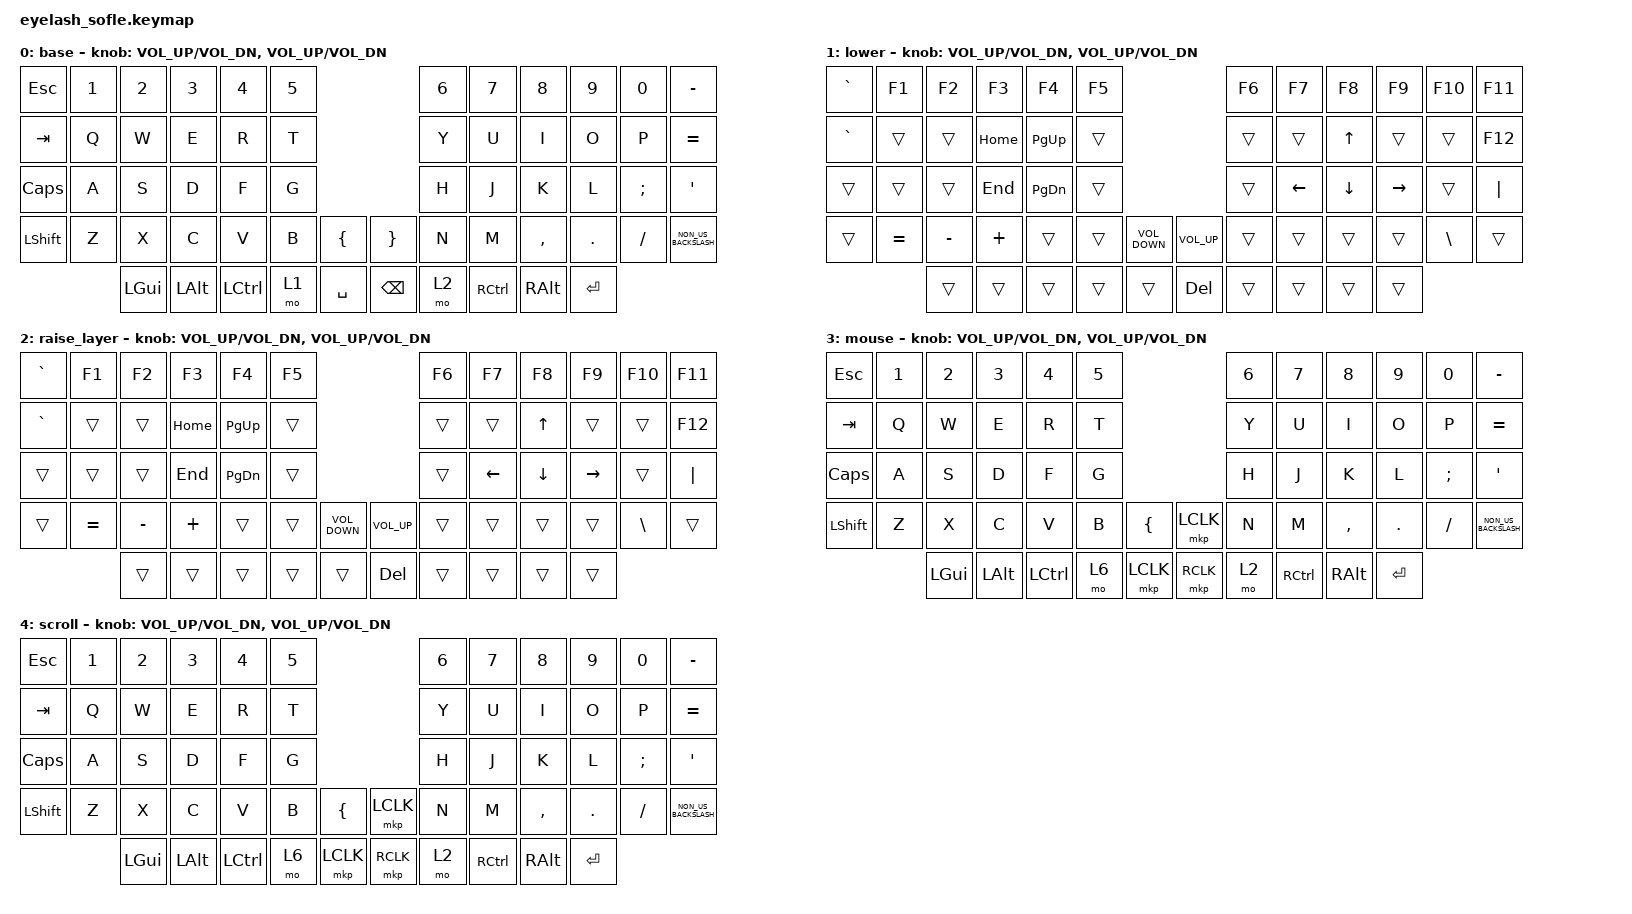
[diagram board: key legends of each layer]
#define ZMK_POINTING_DEFAULT_MOVE_VAL 1200  // 600
#define ZMK_POINTING_DEFAULT_SCRL_VAL 50   // 10

#include <input/processors.dtsi>
#include <zephyr/dt-bindings/input/input-event-codes.h>
#include <behaviors.dtsi>
#include <dt-bindings/zmk/keys.h>
#include <dt-bindings/zmk/pointing.h>
#include <dt-bindings/zmk/mouse.h>

#define BASE 0
#define LOWER 1
#define RAISE 2
#define MOUSE 3
#define SCROLL 4

//&mmv_input_listener { input-processors = <&zip_xy_scaler 2 1>; };
//&msc_input_listener { input-processors = <&zip_scroll_scaler 2 1>; };

&mmv {
    time-to-max-speed-ms = <500>;
    acceleration-exponent = <1>;
    trigger-period-ms = <16>;
};

&msc {
    time-to-max-speed-ms = <50>;
    acceleration-exponent = <1>;
};

/ {
    // Activate ADJUST layer by pressing raise and lower
    conditional_layers {
        compatible = "zmk,conditional-layers";

        adjust_layer {
            if-layers = <BASE LOWER>;
            then-layer = <RAISE>;
            };
        };


    combos {
        compatible = "zmk,combos";

        lang {
            bindings = <&kp RALT>;
            key-positions = <34 35>;
            layers = <0>;
            timeout-ms = <90>;
        };

        b_key {
            bindings = <&kp B>;
            key-positions = <35 36>;
            layers = <0>;
            timeout-ms = <90>;
        };
    };

    macros {
        arrow: arrow {
            compatible = "zmk,behavior-macro";
            #binding-cells = <0>;
            bindings = <&kp MINUS &kp GT>;
        };

        arrow2: arrow2 {
            compatible = "zmk,behavior-macro";
            #binding-cells = <0>;
            bindings =
                <&macro_release>,
                <&kp LSHFT>,
                <&macro_tap>,
                <&kp EQUAL &kp GT>;
        };

        ZonePrintScreen: ZonePrintScreen {
            compatible = "zmk,behavior-macro";
            #binding-cells = <0>;
            bindings = <&kp LS(LG(S))>;
            label = "ZONEPRINTSCREEN";
        };

        lm: lm {
            compatible = "zmk,behavior-macro-two-param";
            wait-ms = <0>;
            tap-ms = <0>;
            #binding-cells = <2>;
            bindings =
                <&macro_param_1to1>,
                <&macro_press>,
                <&mo MACRO_PLACEHOLDER &macro_param_2to1>,
                <&macro_press>,
                <&kp MACRO_PLACEHOLDER>,
                <&macro_pause_for_release>,
                <&macro_param_2to1>,
                <&macro_release>,
                <&kp MACRO_PLACEHOLDER &macro_param_1to1>,
                <&macro_release>,
                <&mo MACRO_PLACEHOLDER>;
        };

        rk: rk {
            compatible = "zmk,behavior-macro-two-param";
            wait-ms = <0>;
            tap-ms = <0>;
            #binding-cells = <2>;
            bindings =
                <&macro_param_1to1>,
                <&macro_release>,
                <&kp MACRO_PLACEHOLDER &macro_param_2to1>,
                <&macro_tap>,
                <&kp MACRO_PLACEHOLDER>;
        };
    };

    behaviors {
        skq: sticky_key_quick_release {
            compatible = "zmk,behavior-sticky-key";
            #binding-cells = <1>;
            bindings = <&kp>;
            release-after-ms = <500>;
            quick-release;
        };

        caps_word_mod: caps_word_mod {
            compatible = "zmk,behavior-caps-word-custom";
            #binding-cells = <0>;
            continue-list = <MINUS UNDERSCORE BSPC>;
        };

        G_ESC: G_ESC {
            compatible = "zmk,behavior-hold-tap";
            bindings = <&kp>, <&kp>;

            #binding-cells = <2>;
            tapping-term-ms = <130>;
            hold-trigger-key-positions = <0>;
            flavor = "tap-preferred";
        };

        SH_CAPS: SH_CAPS {
            compatible = "zmk,behavior-tap-dance";
            #binding-cells = <0>;
            bindings = <&skq LSHFT>, <&caps_word_mod>;
        };

        mo_tg: mo_tg {
            compatible = "zmk,behavior-tap-dance";
            #binding-cells = <0>;
            bindings = <&mo 5>, <&tog 5>;
        };

        mouse_scroll: sensor_scroll {
            compatible = "zmk,behavior-sensor-rotate-var";
            #sensor-binding-cells = <2>;
            bindings = <&msc>, <&msc>;
        };

        func: func {
            compatible = "zmk,behavior-tap-dance";
            #binding-cells = <0>;
            bindings = <&kp F11>, <&kp F12>;

            tapping-term-ms = <200>;
        };

        ht: hold_tap {
            label = "hold_tap";
            compatible = "zmk,behavior-hold-tap";
            #binding-cells = <2>;
            flavor = "tap-preferred";
            tapping-term-ms = <220>;
            quick-tap-ms = <150>;
            global-quick-tap;
            bindings = <&kp>, <&kp>;
        };
        hm: homerow_mods {
            compatible = "zmk,behavior-hold-tap";
            label = "HOMEROW_MODS";
            #binding-cells = <2>;
            tapping-term-ms = <200>;
            quick_tap_ms = <0>;
            flavor = "tap-preferred";
            bindings = <&kp>, <&kp>;
        };
        td: tapdance {
            compatible = "zmk,behavior-hold-tap";
            label = "TAPDANCE";
            #binding-cells = <2>;
            tapping-term-ms = <150>;
            quick_tap_ms = <0>;
            flavor = "tap-preferred";
            bindings = <&kp>, <&kp>;
        };
        tog_game_hold: tog_game_hold {
            compatible = "zmk,behavior-hold-tap";
            #binding-cells = <2>;
            flavor = "hold-preferred";
            tapping-term-ms = <2000>;
            bindings = <&tog>, <&none>;
        };
    };



    keymap {
        compatible = "zmk,keymap";

        base_layer {
            display-name = "base";
            bindings = <
&kp ESCAPE    &kp N1  &kp N2    &kp N3    &kp N4     &kp N5                                     &kp N6  &kp N7     &kp N8     &kp N9   &kp N0    &kp MINUS
&kp TAB       &kp Q   &kp W     &kp E     &kp R      &kp T                                      &kp Y   &kp U      &kp I      &kp O    &kp P     &kp EQUAL
&kp CAPSLOCK  &kp A   &kp S     &kp D     &kp F      &kp G                                      &kp H   &kp J      &kp K      &kp L    &kp SEMI  &kp SQT
&kp LSHFT     &kp Z   &kp X     &kp C     &kp V      &kp B   &kp LEFT_BRACE    &kp RIGHT_BRACE  &kp N   &kp M      &kp COMMA  &kp DOT  &kp FSLH  &kp NON_US_BACKSLASH
                      &kp LGUI  &kp LALT  &kp LCTRL  &mo 1   &kp SPACE         &kp BACKSPACE    &mo 2   &kp RCTRL  &kp RALT   &kp RET
            >;

            sensor-bindings =
                <&inc_dec_kp C_VOL_UP C_VOL_DN>,
                <&inc_dec_kp C_VOL_UP C_VOL_DN>;
        };

        lower_layer {
            display-name = "lower";
            bindings = <
&kp GRAVE  &kp F1     &kp F2     &kp F3    &kp F4         &kp F5                                        &kp F6  &kp F7          &kp F8          &kp F9           &kp F10   &kp F11
&kp GRAVE  &trans     &trans     &kp HOME  &kp PAGE_UP    &trans                                        &trans  &trans          &kp UP_ARROW    &trans           &trans    &kp F12
&trans     &trans     &trans     &kp END   &kp PAGE_DOWN  &trans                                        &trans  &kp LEFT_ARROW  &kp DOWN_ARROW  &kp RIGHT_ARROW  &trans    &kp PIPE
&trans     &kp EQUAL  &kp MINUS  &kp PLUS  &trans         &trans  &kp C_VOLUME_DOWN    &kp C_VOLUME_UP  &trans  &trans          &trans          &trans           &kp BSLH  &trans
                      &trans     &trans    &trans         &trans  &trans               &kp DELETE       &trans  &trans          &trans          &trans
            >;

            sensor-bindings =
                <&inc_dec_kp C_VOL_UP C_VOL_DN>,
                <&inc_dec_kp C_VOL_UP C_VOL_DN>;
        };

        raise_layer {
            bindings = <
&kp GRAVE  &kp F1     &kp F2     &kp F3    &kp F4         &kp F5                                        &kp F6  &kp F7          &kp F8          &kp F9           &kp F10   &kp F11
&kp GRAVE  &trans     &trans     &kp HOME  &kp PAGE_UP    &trans                                        &trans  &trans          &kp UP_ARROW    &trans           &trans    &kp F12
&trans     &trans     &trans     &kp END   &kp PAGE_DOWN  &trans                                        &trans  &kp LEFT_ARROW  &kp DOWN_ARROW  &kp RIGHT_ARROW  &trans    &kp PIPE
&trans     &kp EQUAL  &kp MINUS  &kp PLUS  &trans         &trans  &kp C_VOLUME_DOWN    &kp C_VOLUME_UP  &trans  &trans          &trans          &trans           &kp BSLH  &trans
                      &trans     &trans    &trans         &trans  &trans               &kp DELETE       &trans  &trans          &trans          &trans
            >;

            sensor-bindings =
                <&inc_dec_kp C_VOL_UP C_VOL_DN>,
                <&inc_dec_kp C_VOL_UP C_VOL_DN>;
        };






                /*
                 * MOUSE LAYER (Layer 4) - Auto-activates on trackball/trackpoint movement
                 * Thumb keys become: SCROLL | LEFT CLICK | LEFT CLICK | RIGHT CLICK
                 */
                mouse_layer {
                display-name = "mouse";
                bindings = <
&kp ESCAPE    &kp N1  &kp N2    &kp N3    &kp N4     &kp N5                                &kp N6  &kp N7     &kp N8     &kp N9   &kp N0    &kp MINUS
&kp TAB       &kp Q   &kp W     &kp E     &kp R      &kp T                                 &kp Y   &kp U      &kp I      &kp O    &kp P     &kp EQUAL
&kp CAPSLOCK  &kp A   &kp S     &kp D     &kp F      &kp G                                 &kp H   &kp J      &kp K      &kp L    &kp SEMI  &kp SQT
&kp LSHFT     &kp Z   &kp X     &kp C     &kp V      &kp B   &kp LEFT_BRACE    &mkp LCLK   &kp N   &kp M      &kp COMMA  &kp DOT  &kp FSLH  &kp NON_US_BACKSLASH
                      &kp LGUI  &kp LALT  &kp LCTRL  &mo 6   &mkp LCLK         &mkp RCLK   &mo 2   &kp RCTRL  &kp RALT   &kp RET
            >;

                sensor-bindings =
                <&inc_dec_kp C_VOL_UP C_VOL_DN>,
                <&inc_dec_kp C_VOL_UP C_VOL_DN>;
                };




                /* SCROLL LAYER (Layer 5) - Hold left thumb 1 for scroll mode */
                scroll_layer {
                display-name = "scroll";
                        bindings = <
&kp ESCAPE    &kp N1  &kp N2    &kp N3    &kp N4     &kp N5                                &kp N6  &kp N7     &kp N8     &kp N9   &kp N0    &kp MINUS
&kp TAB       &kp Q   &kp W     &kp E     &kp R      &kp T                                 &kp Y   &kp U      &kp I      &kp O    &kp P     &kp EQUAL
&kp CAPSLOCK  &kp A   &kp S     &kp D     &kp F      &kp G                                 &kp H   &kp J      &kp K      &kp L    &kp SEMI  &kp SQT
&kp LSHFT     &kp Z   &kp X     &kp C     &kp V      &kp B   &kp LEFT_BRACE    &mkp LCLK   &kp N   &kp M      &kp COMMA  &kp DOT  &kp FSLH  &kp NON_US_BACKSLASH
                      &kp LGUI  &kp LALT  &kp LCTRL  &mo 6   &mkp LCLK         &mkp RCLK   &mo 2   &kp RCTRL  &kp RALT   &kp RET
            >;

                sensor-bindings =
                <&inc_dec_kp C_VOL_UP C_VOL_DN>,
                <&inc_dec_kp C_VOL_UP C_VOL_DN>;

                };
    };
};
